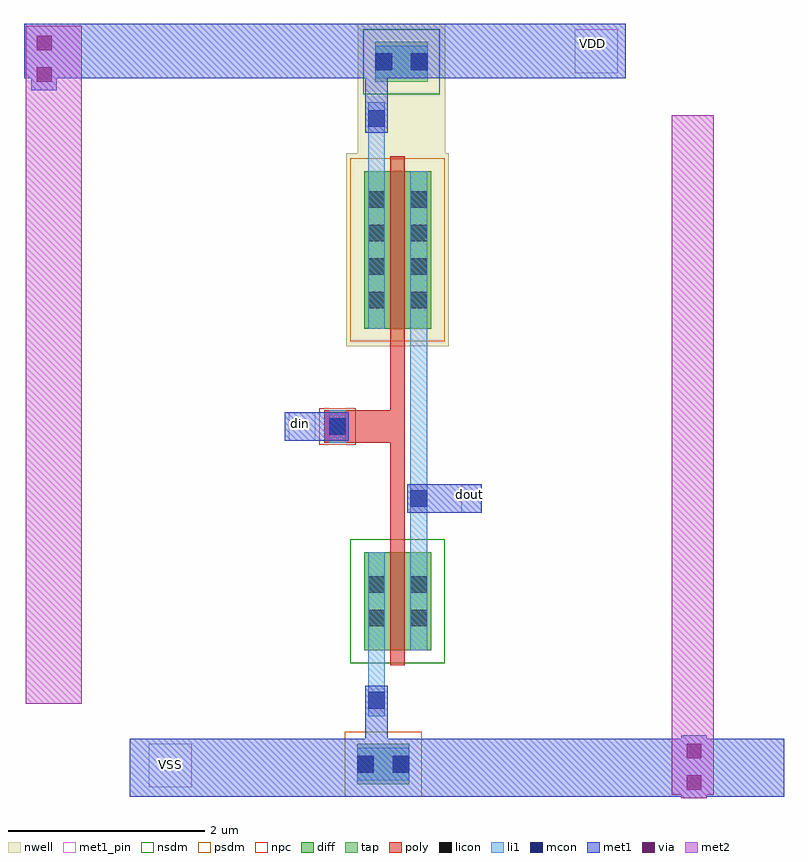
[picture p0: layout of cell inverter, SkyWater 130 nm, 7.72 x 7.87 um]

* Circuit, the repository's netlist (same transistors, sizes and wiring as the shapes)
.SUBCKT inverter vdd vss din dout

  Xinst0 dout din vss vss sky130_fd_pr__nfet_01v8 l=0.150u nf=1 w=1.000u
  Xinst1 dout din vdd vdd sky130_fd_pr__pfet_01v8 l=0.150u nf=1 w=1.600u

.ENDS inverter

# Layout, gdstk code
import gdstk
lib = gdstk.Library(unit=1e-6, precision=1e-09)
def R(c, l, rs):  # rectangles x0, y0, x1, y1
    for r in rs: c.add(gdstk.rectangle(r[:2], r[2:], *l))
def A(c, l, x, y, w, h, nx, ny, dx, dy):  # array of equal rectangles
    R(c, l, [(x+i*dx, y+j*dy, x+i*dx+w, y+j*dy+h) for i in range(nx) for j in range(ny)])
nwell = (64, 20)
diff = (65, 20)
tap = (65, 44)
poly = (66, 20)
licon = (66, 44)
li1 = (67, 20)
mcon = (67, 44)
met1_pin = (68, 16)
met1 = (68, 20)
via = (68, 44)
met2 = (69, 20)
nsdm = (93, 44)
psdm = (94, 20)
npc = (95, 20)

nfet_01v8_cdns_730310354 = lib.new_cell('nfet_01v8_CDNS_730310354533')
R(nfet_01v8_cdns_730310354, diff, [(-0.265,0,0,1), (0,0,0.15,1), (0.15,0,0.415,1)])
R(nfet_01v8_cdns_730310354, poly, [(0,-0.15,0.15,-0.095), (0,-0.095,0.15,0), (0,0,0.15,1), (0,1,0.15,1.095), (0,1.095,0.15,1.15)])
R(nfet_01v8_cdns_730310354, licon, [(-0.225,0.245,-0.055,0.415), (0.205,0.245,0.375,0.415), (-0.225,0.585,-0.055,0.755), (0.205,0.585,0.375,0.755)])
R(nfet_01v8_cdns_730310354, li1, [(-0.225,0,-0.055,1), (0.205,0,0.375,1)])
R(nfet_01v8_cdns_730310354, nsdm, [(-0.405,-0.13,0.555,1.13)])

pfet_01v8_cdns_730310354 = lib.new_cell('pfet_01v8_CDNS_730310354534')
R(pfet_01v8_cdns_730310354, nwell, [(-0.445,-0.18,0.595,1.78)])
R(pfet_01v8_cdns_730310354, diff, [(-0.265,0,0,1.6), (0,0,0.15,1.6), (0.15,0,0.415,1.6)])
R(pfet_01v8_cdns_730310354, poly, [(0,-0.15,0.15,-0.095), (0,-0.095,0.15,0), (0,0,0.15,1.6), (0,1.6,0.15,1.695), (0,1.695,0.15,1.75)])
A(pfet_01v8_cdns_730310354, licon, -0.225, 0.205, 0.17, 0.17, 1, 4, 0, 0.34)
A(pfet_01v8_cdns_730310354, licon, 0.205, 0.205, 0.17, 0.17, 1, 4, 0, 0.34)
R(pfet_01v8_cdns_730310354, li1, [(-0.225,0,-0.055,1.6), (0.205,0,0.375,1.6)])
R(pfet_01v8_cdns_730310354, psdm, [(-0.405,-0.13,0.555,1.73)])

polyconn_cdns_7303103545 = lib.new_cell('polyConn_CDNS_730310354530')
R(polyconn_cdns_7303103545, poly, [(-0.135,-0.165,0.135,0.165)])
R(polyconn_cdns_7303103545, licon, [(-0.085,-0.085,0.085,0.085)])
R(polyconn_cdns_7303103545, li1, [(-0.085,-0.165,0.085,0.165)])
R(polyconn_cdns_7303103545, mcon, [(-0.085,-0.085,0.085,0.085)])
R(polyconn_cdns_7303103545, met1, [(-0.115,-0.145,0.115,0.145)])
R(polyconn_cdns_7303103545, npc, [(-0.185,-0.185,0.185,0.185)])

nwelltap_cdns_7303103545 = lib.new_cell('nwellTap_CDNS_730310354531')
R(nwelltap_cdns_7303103545, nwell, [(-0.445,-0.385,0.445,0.385)])
R(nwelltap_cdns_7303103545, tap, [(-0.265,-0.205,0.265,0.205)])
R(nwelltap_cdns_7303103545, licon, [(-0.265,-0.085,-0.095,0.085), (0.095,-0.085,0.265,0.085)])
R(nwelltap_cdns_7303103545, li1, [(-0.265,-0.165,0.265,0.165)])
R(nwelltap_cdns_7303103545, mcon, [(-0.265,-0.085,-0.095,0.085), (0.095,-0.085,0.265,0.085)])
R(nwelltap_cdns_7303103545, met1, [(-0.295,-0.145,0.295,0.145)])
R(nwelltap_cdns_7303103545, nsdm, [(-0.39,-0.33,0.39,0.33)])

subtap_cdns_730310354532 = lib.new_cell('subTap_CDNS_730310354532')
R(subtap_cdns_730310354532, tap, [(-0.265,-0.205,0.265,0.205)])
R(subtap_cdns_730310354532, licon, [(-0.265,-0.085,-0.095,0.085), (0.095,-0.085,0.265,0.085)])
R(subtap_cdns_730310354532, li1, [(-0.265,-0.165,0.265,0.165)])
R(subtap_cdns_730310354532, mcon, [(-0.265,-0.085,-0.095,0.085), (0.095,-0.085,0.265,0.085)])
R(subtap_cdns_730310354532, met1, [(-0.295,-0.145,0.295,0.145)])
R(subtap_cdns_730310354532, psdm, [(-0.39,-0.33,0.39,0.33)])

l1m1_c_cdns_736670542250 = lib.new_cell('L1M1_C_CDNS_736670542250')
R(l1m1_c_cdns_736670542250, li1, [(-0.085,-0.165,0.085,0.165)])
R(l1m1_c_cdns_736670542250, mcon, [(-0.085,-0.085,0.085,0.085)])
R(l1m1_c_cdns_736670542250, met1, [(-0.115,-0.145,0.115,0.145)])

m1m2_c_cdns_736670542251 = lib.new_cell('M1M2_C_CDNS_736670542251')
R(m1m2_c_cdns_736670542251, met1, [(-0.13,-0.32,0.13,0.32)])
R(m1m2_c_cdns_736670542251, via, [(-0.075,-0.235,0.075,-0.085), (-0.075,0.085,0.075,0.235)])
R(m1m2_c_cdns_736670542251, met2, [(-0.13,-0.32,0.13,0.32)])

inverter = lib.new_cell('inverter')
R(inverter, nwell, [(2.475,6.32,3.365,6.92)])
R(inverter, poly, [(2.805,2.435,2.955,4.405), (2.405,3.395,2.805,3.725)])
R(inverter, li1, [(2.58,0.945,2.75,1.285), (3.01,2.285,3.18,4.555), (2.58,6.155,2.75,6.525)])
R(inverter, met1_pin, [(0.35,-0.105,0.79,0.335), (3.525,2.685,3.73,2.97), (1.775,3.415,2.045,3.7), (4.68,7.15,5.115,7.595)])
R(inverter, met1, [(0.16,-0.2,6.805,0.39), (2.55,0.39,2.78,0.635), (3.21,2.685,3.735,2.975), (1.735,3.415,2.155,3.705), (2.55,6.835,2.78,7.1), (-0.915,7.1,5.2,7.65)])
R(inverter, met2, [(5.665,-0.18,6.09,6.72), (-0.895,0.745,-0.33,7.63)])
inverter.add(gdstk.Reference(nfet_01v8_cdns_730310354, (2.805,1.285)))
inverter.add(gdstk.Reference(pfet_01v8_cdns_730310354, (2.805,4.555)))
inverter.add(gdstk.Reference(polyconn_cdns_7303103545, (2.27,3.56)))
inverter.add(gdstk.Reference(nwelltap_cdns_7303103545, (2.92,7.265)))
inverter.add(gdstk.Reference(subtap_cdns_730310354532, (2.735,0.13)))
inverter.add(gdstk.Reference(l1m1_c_cdns_736670542250, (2.665,0.78)))
inverter.add(gdstk.Reference(l1m1_c_cdns_736670542250, (2.665,6.69)))
inverter.add(gdstk.Reference(l1m1_c_cdns_736670542250, (3.095,2.83)))
inverter.add(gdstk.Reference(m1m2_c_cdns_736670542251, (5.89,0.105)))
inverter.add(gdstk.Reference(m1m2_c_cdns_736670542251, (-0.71,7.295)))
inverter.add(gdstk.Label('din', (1.89,3.595), layer=68, texttype=5))
inverter.add(gdstk.Label('dout', (3.615,2.865), layer=68, texttype=5))
inverter.add(gdstk.Label('VSS', (0.57,0.13), layer=68, texttype=5))
inverter.add(gdstk.Label('VDD', (4.86,7.45), layer=68, texttype=5))

lib.write_gds('inverter.gds')
